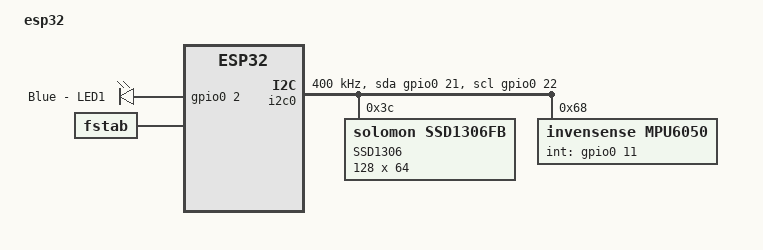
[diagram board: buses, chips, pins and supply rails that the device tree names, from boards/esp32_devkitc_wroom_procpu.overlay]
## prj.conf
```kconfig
CONFIG_GPIO=y
CONFIG_I2C=y
CONFIG_PRINTK=y
CONFIG_HEAP_MEM_POOL_SIZE=8192 

# Shell related settings
CONFIG_LOG=y
CONFIG_SHELL=y
CONFIG_SHELL_LOG_LEVEL_INF=y

# File system related settings
CONFIG_FILE_SYSTEM=y
CONFIG_FILE_SYSTEM_SHELL=y
CONFIG_FILE_SYSTEM_LITTLEFS=y
CONFIG_FLASH=y
CONFIG_FLASH_MAP=y

# BME280 sensor related settings
# CONFIG_SENSOR=y
# CONFIG_SENSOR_ASYNC_API=y

CONFIG_SENSOR=y
CONFIG_MPU6050_TRIGGER_NONE=y
CONFIG_CBPRINTF_FP_SUPPORT=y
```

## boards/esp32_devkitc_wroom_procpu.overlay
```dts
/*
 * Copyright (c) 2023 Espressif Systems (Shanghai) Co., Ltd.
 *
 * SPDX-License-Identifier: Apache-2.0
 */

 / {
	model = "esp32";
	compatible = "espressif,esp32";

	aliases {
		i2c-0 = &i2c0;
		led0 = &led0;
	};

	chosen {
		zephyr,sram = &sram0;
		zephyr,console = &uart0;
		zephyr,shell-uart = &uart0;
		zephyr,flash = &flash0;
		zephyr,display = &ssd1306;
		
	};

	leds {
		compatible = "gpio-leds";
		led0: led_0 {
			gpios =  <&gpio0 2 GPIO_ACTIVE_HIGH>;
			label = "Blue - LED1";
		};
	};
	
	fstab {
	compatible = "zephyr,fstab";
	lfs1: lfs1 {
		compatible = "zephyr,fstab,littlefs";
		mount-point = "/lfs1";
		partition = <&storage_partition>;
		read-size = <16>;
		prog-size = <16>;
		cache-size = <64>;
		lookahead-size = <32>;
		block-cycles = <512>;
	};
};
};


&i2c0 {
	status = "okay";
	clock-frequency = <I2C_BITRATE_FAST>;
	sda-gpios = <&gpio0 21 (GPIO_OPEN_DRAIN  )>;
	scl-gpios = <&gpio0 22 (GPIO_OPEN_DRAIN  )>;
	pinctrl-0 = <&i2c0_default>;
	pinctrl-names = "default";
	ssd1306: ssd1306@3c {
		compatible = "solomon,ssd1306fb";
		reg = < 0x3c >;
		label = "SSD1306";
		width = < 128 >;
		height = < 64 >;
		segment-offset = < 0x0 >;
		page-offset = < 0x0 >;
		display-offset = < 0x0 >;
		multiplex-ratio = < 0x3f >;
		prechargep = < 0x22 >;
	};
	mpu6050@68 {
	compatible = "invensense,mpu6050";
	reg = <0x68>;
	status = "okay";
	int-gpios = <&gpio0 11 GPIO_ACTIVE_HIGH>;
	};	
};
```

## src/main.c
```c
#define LOG_LEVEL CONFIG_LOG_DEFAULT_LEVEL
#include <zephyr/logging/log.h>
LOG_MODULE_REGISTER(app);

#include <zephyr/kernel.h>
#include <zephyr/device.h>
#include <zephyr/drivers/sensor.h>
#include <stdio.h>

#include <zephyr/fs/fs.h>
#include <zephyr/fs/littlefs.h>

static const char *now_str(void)
{
	static char buf[16]; /* ...HH:MM:SS.MMM */
	uint32_t now = k_uptime_get_32();
	unsigned int ms = now % MSEC_PER_SEC;
	unsigned int s;
	unsigned int min;
	unsigned int h;

	now /= MSEC_PER_SEC;
	s = now % 60U;
	now /= 60U;
	min = now % 60U;
	now /= 60U;
	h = now;

	snprintf(buf, sizeof(buf), "%u:%02u:%02u.%03u",
		 h, min, s, ms);
	return buf;
}

static int write_to_flash(char *fname, char* data, int len);

static int process_mpu6050(const struct device *dev)
{
	struct sensor_value temperature;
	struct sensor_value accel[3];
	struct sensor_value gyro[3];
  char log_data[255];
  int len;
	int rc = sensor_sample_fetch(dev);

	if (rc == 0) {
		rc = sensor_channel_get(dev, SENSOR_CHAN_ACCEL_XYZ,
					accel);
	}
	if (rc == 0) {
		rc = sensor_channel_get(dev, SENSOR_CHAN_GYRO_XYZ,
					gyro);
	}
	if (rc == 0) {
		rc = sensor_channel_get(dev, SENSOR_CHAN_DIE_TEMP,
					&temperature);
	}
	if (rc == 0) {
		// printf("[%s]:%g Cel\n"
		//        "  accel %f %f %f m/s/s\n"
		//        "  gyro  %f %f %f rad/s\n",
		//        now_str(),
		//        sensor_value_to_double(&temperature),
		//        sensor_value_to_double(&accel[0]),
		//        sensor_value_to_double(&accel[1]),
		//        sensor_value_to_double(&accel[2]),
		//        sensor_value_to_double(&gyro[0]),
		//        sensor_value_to_double(&gyro[1]),
		//        sensor_value_to_double(&gyro[2]));
    len = snprintf(log_data, sizeof(log_data), "[%s]:%g Cel\n"
           "  accel %f %f %f m/s/s\n"
           "  gyro  %f %f %f rad/s\n",
           now_str(),
           sensor_value_to_double(&temperature),
           sensor_value_to_double(&accel[0]),
           sensor_value_to_double(&accel[1]),
           sensor_value_to_double(&accel[2]),
           sensor_value_to_double(&gyro[0]),
           sensor_value_to_double(&gyro[1]),
           sensor_value_to_double(&gyro[2]));
    write_to_flash("/lfs1/sensor_data.txt", log_data, len);
	} else {
		printf("sample fetch/get failed: %d\n", rc);
	}

	return rc;
}

static int lsdir(const char *path)
{
	int res;
	struct fs_dir_t dirp;
	static struct fs_dirent entry;

	fs_dir_t_init(&dirp);

	/* Verify fs_opendir() */
	res = fs_opendir(&dirp, path);
	if (res) {
		LOG_ERR("Error opening dir %s [%d]\n", path, res);
		return res;
	}

	LOG_PRINTK("\nListing dir %s ...\n", path);
	for (;;) {
		/* Verify fs_readdir() */
		res = fs_readdir(&dirp, &entry);

		/* entry.name[0] == 0 means end-of-dir */
		if (res || entry.name[0] == 0) {
			if (res < 0) {
				LOG_ERR("Error reading dir [%d]\n", res);
			}
			
		}

		if (entry.type == FS_DIR_ENTRY_DIR) {
			LOG_PRINTK("[DIR ] %s\n", entry.name);
		} else {
			LOG_PRINTK("[FILE] %s (size = %zu)\n",
				   entry.name, entry.size);
		}
	}

	/* Verify fs_closedir() */
	fs_closedir(&dirp);

	return res;
}

static int littlefs_flash_erase(unsigned int id)
{
	const struct flash_area *pfa;
	int rc;

	rc = flash_area_open(id, &pfa);
	if (rc < 0) {
		LOG_ERR("FAIL: unable to find flash area %u: %d\n",
			id, rc);
		return rc;
	}

	LOG_PRINTK("Area %u at 0x%x on %s for %u bytes\n",
		   id, (unsigned int)pfa->fa_off, pfa->fa_dev->name,
		   (unsigned int)pfa->fa_size);

	/* Optional wipe flash contents */
	if (IS_ENABLED(CONFIG_APP_WIPE_STORAGE)) {
		rc = flash_area_flatten(pfa, 0, pfa->fa_size);
		LOG_ERR("Erasing flash area ... %d", rc);
	}

	flash_area_close(pfa);
	return rc;
}
#define PARTITION_NODE DT_NODELABEL(lfs1)

#if DT_NODE_EXISTS(PARTITION_NODE)
FS_FSTAB_DECLARE_ENTRY(PARTITION_NODE);
#else /* PARTITION_NODE */
FS_LITTLEFS_DECLARE_DEFAULT_CONFIG(storage);
static struct fs_mount_t lfs_storage_mnt = {
	.type = FS_LITTLEFS,
	.fs_data = &storage,
	.storage_dev = (void *)FIXED_PARTITION_ID(storage_partition),
	.mnt_point = "/lfs",
};
#endif /* PARTITION_NODE */

	struct fs_mount_t *mountpoint =
#if DT_NODE_EXISTS(PARTITION_NODE)
		&FS_FSTAB_ENTRY(PARTITION_NODE)
#else
		&lfs_storage_mnt
#endif
		;

static int littlefs_mount(struct fs_mount_t *mp)
{
	int rc;

	rc = littlefs_flash_erase((uintptr_t)mp->storage_dev);
	if (rc < 0) {
		return rc;
	}

	/* Do not mount if auto-mount has been enabled */
#if !DT_NODE_EXISTS(PARTITION_NODE) ||						\
	!(FSTAB_ENTRY_DT_MOUNT_FLAGS(PARTITION_NODE) & FS_MOUNT_FLAG_AUTOMOUNT)
	rc = fs_mount(mp);
	if (rc < 0) {
		LOG_PRINTK("FAIL: mount id %" PRIuPTR " at %s: %d\n",
		       (uintptr_t)mp->storage_dev, mp->mnt_point, rc);
		return rc;
	}
	LOG_PRINTK("%s mount: %d\n", mp->mnt_point, rc);
#else
	LOG_PRINTK("%s automounted\n", mp->mnt_point);
#endif

	return 0;
}

static int write_to_flash(char *fname, char* data, int len)
{
  struct fs_file_t file;
  int rc, ret;

  fs_file_t_init(&file);

  rc = fs_open(&file, fname, FS_O_CREATE | FS_O_RDWR | FS_O_APPEND);
  if (rc < 0) {
    LOG_ERR("FAIL: open %s: %d", fname, rc);
    return rc;
  }
  printf("File oppened\n");
  rc = fs_write(&file, data, len);
  if (rc < 0) {
    LOG_ERR("FAIL: write %s: %d", fname, rc);
  }
  printf("Data written\n");
  ret = fs_close(&file);
  if (ret < 0) {
    LOG_ERR("FAIL: close %s: %d", fname, ret);
    return ret;
  }
  printf("File closed\n");

  return (rc < 0 ? rc : 0);
}

int main(void)
{
  char fname1[255];
	char fname2[255];
	struct fs_statvfs sbuf;
  int rc = littlefs_mount(mountpoint);
  if (rc < 0) {
		return 0;
	}

	snprintf(fname1, sizeof(fname1), "%s/boot_count", mountpoint->mnt_point);
	snprintf(fname2, sizeof(fname2), "%s/pattern.bin", mountpoint->mnt_point);

	rc = fs_statvfs(mountpoint->mnt_point, &sbuf);
	if (rc < 0) {
		LOG_PRINTK("FAIL: statvfs: %d\n", rc);
		// goto out;
	}

	LOG_PRINTK("%s: bsize = %lu ; frsize = %lu ;"
		   " blocks = %lu ; bfree = %lu\n",
		   mountpoint->mnt_point,
		   sbuf.f_bsize, sbuf.f_frsize,
		   sbuf.f_blocks, sbuf.f_bfree);

	// rc = lsdir(mountpoint->mnt_point);
	// if (rc < 0) {
	// 	LOG_PRINTK("FAIL: lsdir %s: %d\n", mountpoint->mnt_point, rc);
	// 	goto out;
	// }

	// rc = littlefs_binary_file_adj(fname2);
	// if (rc) {
	// 	goto out;
	// }

	// rc = fs_unmount(mountpoint); 

  const struct device *const mpu6050 = DEVICE_DT_GET_ONE(invensense_mpu6050);

	if (!device_is_ready(mpu6050)) {
		printf("Device %s is not ready\n", mpu6050->name);
		return 0;
	}
  printf("\nDevice %s is ready\n", mpu6050->name);

  // for(int i = 0; i < 2; i++)
  // {
  //   rc = process_mpu6050(mpu6050);
  //   printf("Reading sample %d\n", i);
  //   if(rc != 0)
  //   {
  //     printf("Error reading sensor data\n");
  //     break;
  //   }   
  //   k_sleep(K_MSEC(2000));
  // }
  
	return 0;
}
```
